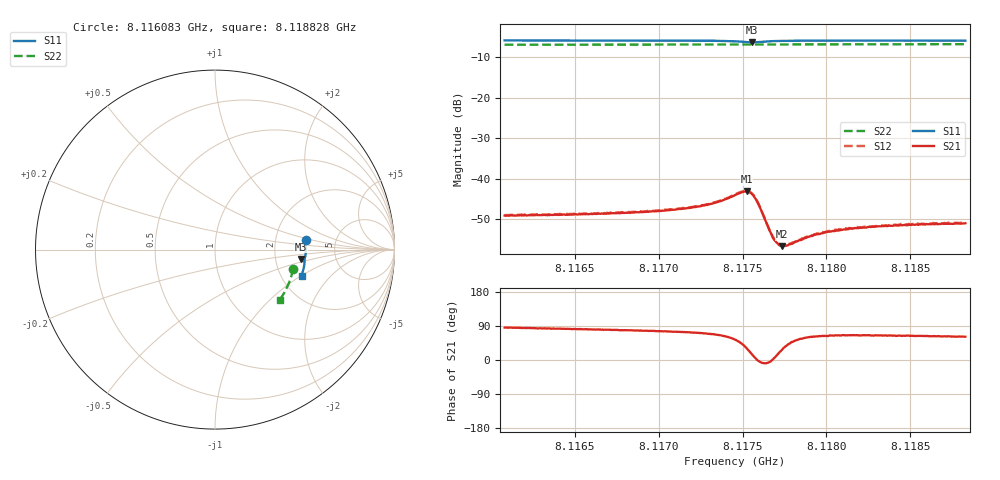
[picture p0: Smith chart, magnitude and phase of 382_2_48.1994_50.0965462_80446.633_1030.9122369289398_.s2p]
#  HZ  S  RI  R  50.00
! Rohde & Schwarz Vector Network Analyzer
! Rohde-Schwarz,ZNB20-2Port,1311601062101988,3.16
! Created: UTC 3/20/2024, 11:53:09 AM
! freq[Hz]  re:S11  im:S11  re:S21  im:S21  re:S12  im:S12  re:S22  im:S22
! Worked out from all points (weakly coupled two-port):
!   401 points, 8.116083 GHz to 8.118828 GHz, reference 50 ohm
!   highest |S21| = -43.12 dB at 8.117524 GHz (marker M1); lowest = -56.6 dB at 8.117737 GHz (marker M2)
!   lowest |S11| = -6.4 dB at 8.117558 GHz (marker M3), VSWR 2.85, Z = 139 - j18.9 ohm
!   |S11| at or under -10 dB: nowhere
!   |S22| runs from -7.0 to -6.8 dB; largest |S21 - S12| = 0.00018
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8.116083e9  0.5046 0.0521  0.000279 0.0035  0.000335 0.00355  0.4361 -0.1067
8.1165427e9  0.5063 0.0175  0.000561 0.00361  0.00062 0.00364  0.4285 -0.1378
8.1170024e9  0.5053 -0.0181  0.000968 0.00387  0.00104 0.00395  0.4188 -0.1684
8.1171671e9  0.504 -0.0315  0.00122 0.00415  0.00127 0.0042  0.4148 -0.1792
8.1172838e9  0.502 -0.042  0.00162 0.00447  0.00172 0.00452  0.4116 -0.1868
8.117373e9  0.4989 -0.0506  0.00226 0.00481  0.00233 0.00488  0.4091 -0.1925
8.1174553e9  0.4923 -0.0587  0.0037 0.00508  0.00379 0.00508  0.4066 -0.198
8.1174965e9  0.4854 -0.0607  0.00501 0.00462  0.00512 0.0047  0.4053 -0.2002
8.1175239e9  0.4804 -0.0589  0.00595 0.00365  0.00609 0.00366  0.4042 -0.202
8.1175582e9  0.4774 -0.0521  0.00622 0.00157  0.00636 0.00152  0.4032 -0.2036
8.1175719e9  0.4784 -0.049  0.00584 0.000724  0.00598 0.000685  0.4028 -0.2045
8.1175925e9  0.4819 -0.046  0.00496 -0.000146  0.00505 -0.000178  0.4026 -0.2055
8.1176543e9  0.4926 -0.048  0.00246 -0.000293  0.00251 -0.000287  0.4012 -0.2093
8.1176817e9  0.4953 -0.0511  0.00185 6.32e-05  0.00193 2.76e-05  0.4006 -0.2114
8.1177092e9  0.4969 -0.0545  0.00154 0.000397  0.00154 0.00038  0.3996 -0.213
8.1177366e9  0.4979 -0.0577  0.0013 0.000685  0.00135 0.000697  0.399 -0.2148
8.1177709e9  0.4986 -0.0616  0.00114 0.000993  0.00115 0.00101  0.398 -0.2172
8.117915e9  0.4986 -0.0753  0.000955 0.00171  0.000992 0.00175  0.3934 -0.2263
8.1180042e9  0.4979 -0.0829  0.000991 0.00197  0.00101 0.00199  0.3906 -0.2317
8.1181209e9  0.4962 -0.0923  0.000999 0.00216  0.00101 0.0022  0.3863 -0.239
8.1183748e9  0.4921 -0.1117  0.00114 0.00239  0.00119 0.00242  0.3774 -0.2543
8.1188276e9  0.4832 -0.1448  0.00135 0.00248  0.00137 0.00251  0.3599 -0.2807
